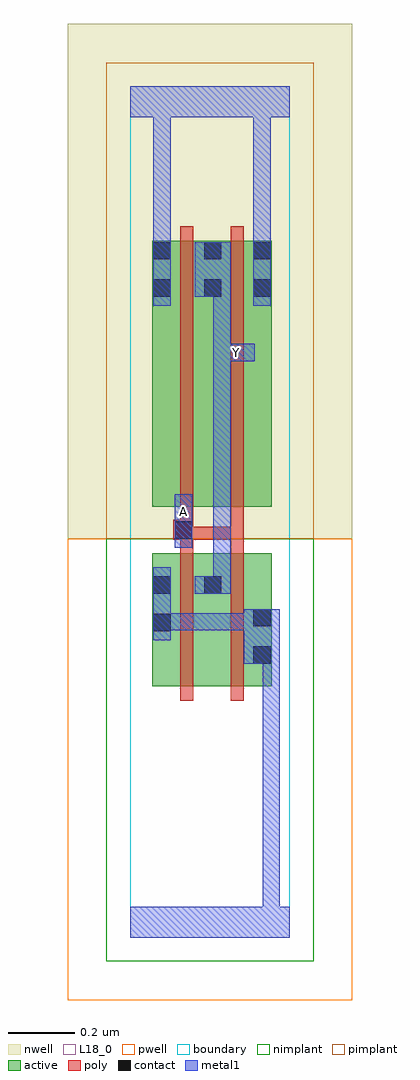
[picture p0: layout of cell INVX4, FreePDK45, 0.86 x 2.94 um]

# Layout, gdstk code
import gdstk
lib = gdstk.Library(unit=1e-6, precision=1e-09)
def R(c, l, rs):  # rectangles x0, y0, x1, y1
    for r in rs: c.add(gdstk.rectangle(r[:2], r[2:], *l))
active = (1, 0)
pwell = (2, 0)
nwell = (3, 0)
nimplant = (4, 0)
pimplant = (5, 0)
poly = (9, 0)
contact = (10, 0)
metal1 = (11, 0)
L18_0 = (18, 0)
boundary = (235, 0)

invx4 = lib.new_cell('INVX4')
R(invx4, active, [(0.066,0.756,0.126,1.156), (0.066,0.756,0.278,1.156), (0.218,0.756,0.278,1.156), (0.218,0.756,0.426,1.156), (0.366,0.756,0.426,1.156), (0.066,1.296,0.126,2.096), (0.066,1.296,0.278,2.096), (0.218,1.296,0.278,2.096), (0.218,1.296,0.426,2.096), (0.366,1.296,0.426,2.096)])
R(invx4, pwell, [(-0.188,-0.188,0.668,1.2)])
R(invx4, nwell, [(-0.188,1.2,0.668,2.748)])
R(invx4, nimplant, [(-0.072,-0.072,0.552,1.2)])
R(invx4, pimplant, [(-0.072,1.2,0.552,2.632)])
R(invx4, poly, [(0.15,0.712,0.19,1.2), (0.302,0.712,0.342,1.2), (0.15,1.16,0.19,1.236), (0.302,1.16,0.342,1.236), (0.13,1.196,0.19,1.256), (0.15,1.196,0.19,1.236), (0.15,1.196,0.19,1.236), (0.15,1.196,0.19,1.236), (0.15,1.196,0.19,1.236), (0.15,1.196,0.342,1.236), (0.302,1.196,0.342,1.292), (0.302,1.196,0.342,1.236), (0.302,1.196,0.342,1.236), (0.302,1.196,0.342,1.236), (0.15,1.216,0.19,1.292), (0.15,1.252,0.19,2.14), (0.302,1.252,0.342,2.14)])
R(invx4, contact, [(0.37,0.824,0.422,0.876), (0.07,0.922,0.122,0.974), (0.37,0.936,0.422,0.988), (0.07,1.034,0.122,1.086), (0.222,1.034,0.274,1.086), (0.134,1.2,0.186,1.252), (0.07,1.928,0.122,1.98), (0.222,1.928,0.274,1.98), (0.37,1.928,0.422,1.98), (0.07,2.04,0.122,2.092), (0.222,2.04,0.274,2.092), (0.37,2.04,0.422,2.092)])
R(invx4, metal1, [(0,0,0.48,0.092), (0.398,0.04,0.45,0.092), (0.398,0.04,0.45,0.092), (0.398,0.04,0.45,0.092), (0.398,0.04,0.45,0.092), (0.398,0.04,0.45,0.092), (0.398,0.04,0.45,0.092), (0.398,0.04,0.45,0.092), (0.398,0.04,0.45,0.092), (0.398,0.04,0.45,0.092), (0.398,0.04,0.45,0.092), (0.398,0.04,0.45,0.092), (0.398,0.04,0.45,0.092), (0.398,0.04,0.45,0.876), (0.342,0.824,0.45,0.988), (0.07,0.894,0.122,1.114), (0.07,0.924,0.122,0.976), (0.07,0.924,0.122,0.976), (0.07,0.924,0.232,0.976), (0.18,0.924,0.232,0.976), (0.18,0.924,0.394,0.976), (0.342,0.924,0.394,0.976), (0.342,0.924,0.394,0.976), (0.194,1.034,0.302,1.086), (0.25,1.034,0.302,1.786), (0.134,1.172,0.186,1.334), (0.25,1.734,0.302,1.98), (0.25,1.734,0.374,1.786), (0.07,1.9,0.122,2.12), (0.37,1.9,0.422,2.12), (0.194,1.928,0.302,2.092), (0.25,1.928,0.302,1.98), (0.25,1.928,0.302,1.98), (0.07,2.068,0.122,2.12), (0.07,2.068,0.122,2.12), (0.07,2.068,0.122,2.12), (0.07,2.068,0.122,2.12), (0.07,2.068,0.122,2.12), (0.07,2.068,0.122,2.12), (0.07,2.068,0.122,2.12), (0.07,2.068,0.122,2.12), (0.07,2.068,0.122,2.52), (0.37,2.068,0.422,2.12), (0.37,2.068,0.422,2.12), (0.37,2.068,0.422,2.12), (0.37,2.068,0.422,2.12), (0.37,2.068,0.422,2.52), (0,2.468,0.48,2.56), (0.37,2.468,0.422,2.52), (0.37,2.468,0.422,2.52), (0.37,2.468,0.422,2.52), (0.37,2.468,0.422,2.52)])
R(invx4, L18_0, [(0,0,0.48,0.092), (0.398,0.04,0.45,0.092), (0.398,0.04,0.45,0.092), (0.398,0.04,0.45,0.092), (0.398,0.04,0.45,0.092), (0.398,0.04,0.45,0.092), (0.398,0.04,0.45,0.092), (0.398,0.04,0.45,0.092), (0.398,0.04,0.45,0.092), (0.398,0.04,0.45,0.092), (0.398,0.04,0.45,0.092), (0.398,0.04,0.45,0.092), (0.398,0.04,0.45,0.092), (0.398,0.04,0.45,0.876), (0.342,0.824,0.45,0.988), (0.07,0.894,0.122,1.114), (0.07,0.924,0.122,0.976), (0.07,0.924,0.122,0.976), (0.07,0.924,0.232,0.976), (0.18,0.924,0.232,0.976), (0.18,0.924,0.394,0.976), (0.342,0.924,0.394,0.976), (0.342,0.924,0.394,0.976), (0.194,1.034,0.302,1.086), (0.25,1.034,0.302,1.786), (0.134,1.172,0.186,1.334), (0.134,1.254,0.186,1.306), (0.25,1.734,0.374,1.786), (0.25,1.734,0.302,1.98), (0.294,1.734,0.346,1.786), (0.07,1.9,0.122,2.12), (0.37,1.9,0.422,2.12), (0.194,1.928,0.302,2.092), (0.25,1.928,0.302,1.98), (0.25,1.928,0.302,1.98), (0.07,2.068,0.122,2.12), (0.07,2.068,0.122,2.12), (0.07,2.068,0.122,2.12), (0.07,2.068,0.122,2.12), (0.07,2.068,0.122,2.12), (0.07,2.068,0.122,2.12), (0.07,2.068,0.122,2.12), (0.07,2.068,0.122,2.12), (0.07,2.068,0.122,2.52), (0.37,2.068,0.422,2.12), (0.37,2.068,0.422,2.12), (0.37,2.068,0.422,2.12), (0.37,2.068,0.422,2.12), (0.37,2.068,0.422,2.52), (0,2.468,0.48,2.56), (0.37,2.468,0.422,2.52), (0.37,2.468,0.422,2.52), (0.37,2.468,0.422,2.52), (0.37,2.468,0.422,2.52)])
R(invx4, boundary, [(0,0,0.48,2.56)])
invx4.add(gdstk.Label('A', (0.16,1.28), layer=11, texttype=0))
invx4.add(gdstk.Label('Y', (0.32,1.76), layer=11, texttype=0))

lib.write_gds('INVX4.gds')
